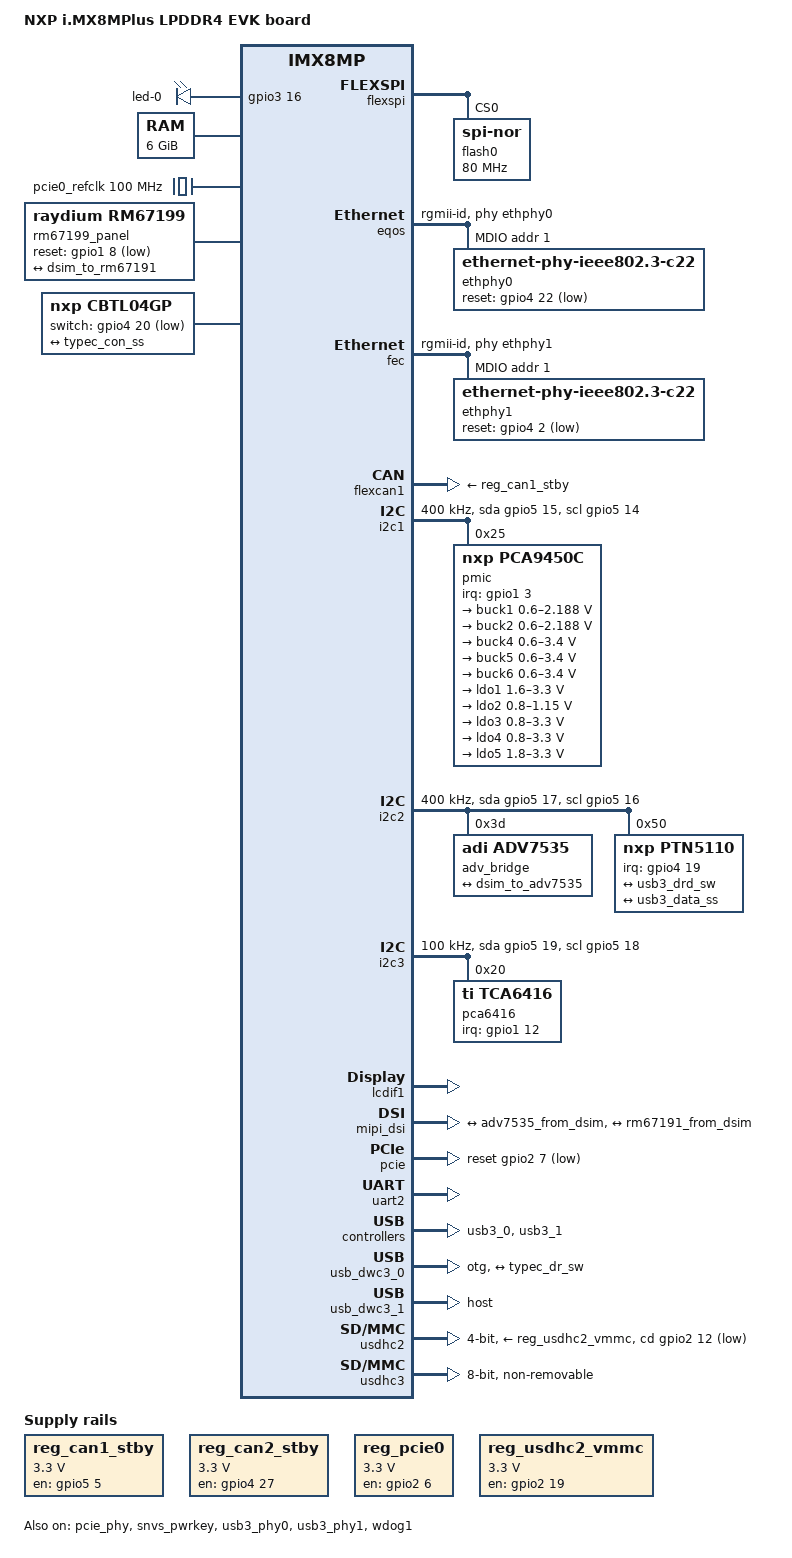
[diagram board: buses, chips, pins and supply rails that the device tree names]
// SPDX-License-Identifier: (GPL-2.0+ OR MIT)
/*
 * Copyright 2019 NXP
 */

/dts-v1/;

#include <dt-bindings/phy/phy-imx8-pcie.h>
#include <dt-bindings/usb/pd.h>
#include "imx8mp.dtsi"

/ {
	model = "NXP i.MX8MPlus LPDDR4 EVK board";
	compatible = "fsl,imx8mp-evk", "fsl,imx8mp";

	chosen {
		bootargs = "console=ttymxc1,115200 earlycon=ec_imx6q,0x30890000,115200";
		stdout-path = &uart2;
	};

	gpio-leds {
		compatible = "gpio-leds";
		pinctrl-names = "default";
		pinctrl-0 = <&pinctrl_gpio_led>;

		led-0 {
			gpios = <&gpio3 16 GPIO_ACTIVE_HIGH>;
			default-state = "on";
		};
	};

	memory@40000000 {
		device_type = "memory";
		reg = <0x0 0x40000000 0 0xc0000000>,
		      <0x1 0x00000000 0 0xc0000000>;
	};

	pcie0_refclk: pcie0-refclk {
		compatible = "fixed-clock";
			#clock-cells = <0>;
			clock-frequency = <100000000>;
	};

	reg_can1_stby: regulator-can1-stby {
		compatible = "regulator-fixed";
		regulator-name = "can1-stby";
		pinctrl-names = "default";
		pinctrl-0 = <&pinctrl_flexcan1_reg>;
		regulator-min-microvolt = <3300000>;
		regulator-max-microvolt = <3300000>;
		gpio = <&gpio5 5 GPIO_ACTIVE_HIGH>;
		enable-active-high;
	};

	reg_can2_stby: regulator-can2-stby {
		compatible = "regulator-fixed";
		regulator-name = "can2-stby";
		pinctrl-names = "default";
		pinctrl-0 = <&pinctrl_flexcan2_reg>;
		regulator-min-microvolt = <3300000>;
		regulator-max-microvolt = <3300000>;
		gpio = <&gpio4 27 GPIO_ACTIVE_HIGH>;
		enable-active-high;
	};

	reg_pcie0: regulator-pcie {
		compatible = "regulator-fixed";
		pinctrl-names = "default";
		pinctrl-0 = <&pinctrl_pcie0_reg>;
		regulator-name = "MPCIE_3V3";
		regulator-min-microvolt = <3300000>;
		regulator-max-microvolt = <3300000>;
		gpio = <&gpio2 6 GPIO_ACTIVE_HIGH>;
		enable-active-high;
		regulator-always-on;
	};

	reg_usdhc2_vmmc: regulator-usdhc2 {
		compatible = "regulator-fixed";
		pinctrl-names = "default";
		pinctrl-0 = <&pinctrl_reg_usdhc2_vmmc>;
		regulator-name = "VSD_3V3";
		regulator-min-microvolt = <3300000>;
		regulator-max-microvolt = <3300000>;
		gpio = <&gpio2 19 GPIO_ACTIVE_HIGH>;
		enable-active-high;
	};

	dsi_host: dsi-host {
		compatible = "samsung,sec-mipi-dsi";
		status = "okay";
	};

	rm67199_panel {
		compatible = "raydium,rm67199";
		pinctrl-names = "default";
		pinctrl-0 = <&pinctrl_mipi_dsi_en>;
		reset-gpio = <&gpio1 8 GPIO_ACTIVE_LOW>;
		dsi-lanes = <4>;
		video-mode = <2>;	/* 0: burst mode
					 * 1: non-burst mode with sync event
					 * 2: non-burst mode with sync pulse
					 */
		panel-width-mm = <68>;
		panel-height-mm = <121>;
		status = "okay";

		port {
			rm67191_from_dsim: endpoint {
				remote-endpoint = <&dsim_to_rm67191>;
			};
		};
	};

	cbtl04gp {
		compatible = "nxp,cbtl04gp";
		pinctrl-names = "default";
		pinctrl-0 = <&pinctrl_typec_mux>;
		switch-gpios = <&gpio4 20 GPIO_ACTIVE_LOW>;
		orientation-switch;

		port {
			usb3_data_ss: endpoint {
				remote-endpoint = <&typec_con_ss>;
			};
		};
	};
};

&flexspi {
	pinctrl-names = "default";
	pinctrl-0 = <&pinctrl_flexspi0>;
	status = "okay";

	flash0: flash@0 {
		reg = <0>;
		#address-cells = <1>;
		#size-cells = <1>;
		compatible = "jedec,spi-nor";
		spi-max-frequency = <80000000>;
		spi-tx-bus-width = <1>;
		spi-rx-bus-width = <4>;
	};
};

&A53_0 {
	cpu-supply = <&buck2>;
};

&A53_1 {
	cpu-supply = <&buck2>;
};

&A53_2 {
	cpu-supply = <&buck2>;
};

&A53_3 {
	cpu-supply = <&buck2>;
};

&eqos {
	pinctrl-names = "default";
	pinctrl-0 = <&pinctrl_eqos>;
	phy-mode = "rgmii-id";
	phy-handle = <&ethphy0>;
	snps,force_thresh_dma_mode;
	snps,mtl-tx-config = <&mtl_tx_setup>;
	snps,mtl-rx-config = <&mtl_rx_setup>;
	status = "okay";

	mdio {
		compatible = "snps,dwmac-mdio";
		#address-cells = <1>;
		#size-cells = <0>;

		ethphy0: ethernet-phy@1 {
			compatible = "ethernet-phy-ieee802.3-c22";
			reg = <1>;
			eee-broken-1000t;
			reset-gpios = <&gpio4 22 GPIO_ACTIVE_LOW>;
			reset-assert-us = <10000>;
			reset-deassert-us = <80000>;
			realtek,clkout-disable;
		};
	};

	mtl_tx_setup: tx-queues-config {
		snps,tx-queues-to-use = <5>;
		snps,tx-sched-sp;

		queue0 {
			snps,dcb-algorithm;
			snps,priority = <0x1>;
		};

		queue1 {
			snps,dcb-algorithm;
			snps,priority = <0x2>;
		};

		queue2 {
			snps,dcb-algorithm;
			snps,priority = <0x4>;
		};

		queue3 {
			snps,dcb-algorithm;
			snps,priority = <0x8>;
		};

		queue4 {
			snps,dcb-algorithm;
			snps,priority = <0xf0>;
		};
	};

	mtl_rx_setup: rx-queues-config {
		snps,rx-queues-to-use = <5>;
		snps,rx-sched-sp;

		queue0 {
			snps,dcb-algorithm;
			snps,priority = <0x1>;
			snps,map-to-dma-channel = <0>;
		};

		queue1 {
			snps,dcb-algorithm;
			snps,priority = <0x2>;
			snps,map-to-dma-channel = <1>;
		};

		queue2 {
			snps,dcb-algorithm;
			snps,priority = <0x4>;
			snps,map-to-dma-channel = <2>;
		};

		queue3 {
			snps,dcb-algorithm;
			snps,priority = <0x8>;
			snps,map-to-dma-channel = <3>;
		};

		queue4 {
			snps,dcb-algorithm;
			snps,priority = <0xf0>;
			snps,map-to-dma-channel = <4>;
		};
	};
};

&fec {
	pinctrl-names = "default";
	pinctrl-0 = <&pinctrl_fec>;
	phy-mode = "rgmii-id";
	phy-handle = <&ethphy1>;
	fsl,magic-packet;
	status = "okay";

	mdio {
		#address-cells = <1>;
		#size-cells = <0>;

		ethphy1: ethernet-phy@1 {
			compatible = "ethernet-phy-ieee802.3-c22";
			reg = <1>;
			eee-broken-1000t;
			reset-gpios = <&gpio4 2 GPIO_ACTIVE_LOW>;
			reset-assert-us = <10000>;
			reset-deassert-us = <80000>;
			realtek,aldps-enable;
			realtek,clkout-disable;
		};
	};
};

&flexcan1 {
	pinctrl-names = "default";
	pinctrl-0 = <&pinctrl_flexcan1>;
	xceiver-supply = <&reg_can1_stby>;
	status = "okay";
};

&flexcan2 {
	pinctrl-names = "default";
	pinctrl-0 = <&pinctrl_flexcan2>;
	xceiver-supply = <&reg_can2_stby>;
	pinctrl-assert-gpios = <&pca6416 3 GPIO_ACTIVE_HIGH>;
	status = "disabled";/* can2 pin conflict with pdm */
};

&i2c1 {
	clock-frequency = <400000>;
	pinctrl-names = "default", "gpio";
	pinctrl-0 = <&pinctrl_i2c1>;
	pinctrl-1 = <&pinctrl_i2c1_gpio>;
	scl-gpios = <&gpio5 14 GPIO_ACTIVE_HIGH>;
	sda-gpios = <&gpio5 15 GPIO_ACTIVE_HIGH>;
	status = "okay";

	pmic@25 {
		compatible = "nxp,pca9450c";
		reg = <0x25>;
		pinctrl-names = "default";
		pinctrl-0 = <&pinctrl_pmic>;
		interrupt-parent = <&gpio1>;
		interrupts = <3 IRQ_TYPE_LEVEL_LOW>;

		regulators {
			buck1: BUCK1 {
				regulator-name = "BUCK1";
				regulator-min-microvolt = <600000>;
				regulator-max-microvolt = <2187500>;
				regulator-boot-on;
				regulator-always-on;
				regulator-ramp-delay = <3125>;
			};

			buck2: BUCK2 {
				regulator-name = "BUCK2";
				regulator-min-microvolt = <600000>;
				regulator-max-microvolt = <2187500>;
				regulator-boot-on;
				regulator-always-on;
				regulator-ramp-delay = <3125>;
				nxp,dvs-run-voltage = <950000>;
				nxp,dvs-standby-voltage = <850000>;
			};

			buck4: BUCK4{
				regulator-name = "BUCK4";
				regulator-min-microvolt = <600000>;
				regulator-max-microvolt = <3400000>;
				regulator-boot-on;
				regulator-always-on;
			};

			buck5: BUCK5{
				regulator-name = "BUCK5";
				regulator-min-microvolt = <600000>;
				regulator-max-microvolt = <3400000>;
				regulator-boot-on;
				regulator-always-on;
			};

			buck6: BUCK6 {
				regulator-name = "BUCK6";
				regulator-min-microvolt = <600000>;
				regulator-max-microvolt = <3400000>;
				regulator-boot-on;
				regulator-always-on;
			};

			ldo1: LDO1 {
				regulator-name = "LDO1";
				regulator-min-microvolt = <1600000>;
				regulator-max-microvolt = <3300000>;
				regulator-boot-on;
				regulator-always-on;
			};

			ldo2: LDO2 {
				regulator-name = "LDO2";
				regulator-min-microvolt = <800000>;
				regulator-max-microvolt = <1150000>;
				regulator-boot-on;
				regulator-always-on;
			};

			ldo3: LDO3 {
				regulator-name = "LDO3";
				regulator-min-microvolt = <800000>;
				regulator-max-microvolt = <3300000>;
				regulator-boot-on;
				regulator-always-on;
			};

			ldo4: LDO4 {
				regulator-name = "LDO4";
				regulator-min-microvolt = <800000>;
				regulator-max-microvolt = <3300000>;
				regulator-boot-on;
				regulator-always-on;
			};

			ldo5: LDO5 {
				regulator-name = "LDO5";
				regulator-min-microvolt = <1800000>;
				regulator-max-microvolt = <3300000>;
				regulator-boot-on;
				regulator-always-on;
			};
		};
	};
};

&i2c2 {
	clock-frequency = <400000>;
	pinctrl-names = "default", "gpio";
	pinctrl-0 = <&pinctrl_i2c2>;
	pinctrl-1 = <&pinctrl_i2c2_gpio>;
	scl-gpios = <&gpio5 16 GPIO_ACTIVE_HIGH>;
	sda-gpios = <&gpio5 17 GPIO_ACTIVE_HIGH>;
	status = "okay";

	adv_bridge: adv7535@3d {
		compatible = "adi,adv7535";
		reg = <0x3d>;
		adi,addr-cec = <0x3c>;
		adi,dsi-lanes = <4>;
		status = "okay";

		port {
			adv7535_from_dsim: endpoint {
				remote-endpoint = <&dsim_to_adv7535>;
			};
		};
	};

	ptn5110: tcpc@50 {
		compatible = "nxp,ptn5110";
		pinctrl-names = "default";
		pinctrl-0 = <&pinctrl_typec>;
		reg = <0x50>;
		interrupt-parent = <&gpio4>;
		interrupts = <19 8>;

		port {
			typec_dr_sw: endpoint {
				remote-endpoint = <&usb3_drd_sw>;
			};
		};

		usb_con: connector {
			compatible = "usb-c-connector";
			label = "USB-C";
			power-role = "dual";
			data-role = "dual";
			try-power-role = "sink";
			source-pdos = <PDO_FIXED(5000, 3000, PDO_FIXED_USB_COMM)>;
			sink-pdos = <PDO_FIXED(5000, 3000, PDO_FIXED_USB_COMM)
				     PDO_VAR(5000, 20000, 3000)>;
			op-sink-microwatt = <15000000>;
			self-powered;

			ports {
				#address-cells = <1>;
				#size-cells = <0>;

				port@1 {
					reg = <1>;
					typec_con_ss: endpoint {
						remote-endpoint = <&usb3_data_ss>;
					};
				};
			};
		};
	};
};

&i2c3 {
	clock-frequency = <100000>;
	pinctrl-names = "default", "gpio";
	pinctrl-0 = <&pinctrl_i2c3>;
	pinctrl-1 = <&pinctrl_i2c3_gpio>;
	scl-gpios = <&gpio5 18 GPIO_ACTIVE_HIGH>;
	sda-gpios = <&gpio5 19 GPIO_ACTIVE_HIGH>;
	status = "okay";

	pca6416: gpio@20 {
		compatible = "ti,tca6416";
		reg = <0x20>;
		gpio-controller;
		#gpio-cells = <2>;
		interrupt-controller;
		#interrupt-cells = <2>;
		pinctrl-names = "default";
		pinctrl-0 = <&pinctrl_pca6416_int>;
		interrupt-parent = <&gpio1>;
		interrupts = <12 IRQ_TYPE_LEVEL_LOW>;
		gpio-line-names = "EXT_PWREN1",
			"EXT_PWREN2",
			"CAN1/I2C5_SEL",
			"PDM/CAN2_SEL",
			"FAN_EN",
			"PWR_MEAS_IO1",
			"PWR_MEAS_IO2",
			"EXP_P0_7",
			"EXP_P1_0",
			"EXP_P1_1",
			"EXP_P1_2",
			"EXP_P1_3",
			"EXP_P1_4",
			"EXP_P1_5",
			"EXP_P1_6",
			"EXP_P1_7";
	};
};

/* I2C on expansion connector J22. */
&i2c5 {
	clock-frequency = <100000>; /* Lower clock speed for external bus. */
	pinctrl-names = "default";
	pinctrl-0 = <&pinctrl_i2c5>;
	status = "disabled"; /* can1 pins conflict with i2c5 */

	/* GPIO 2 of PCA6416 is used to switch between CAN1 and I2C5 functions:
	 *     LOW:  CAN1 (default, pull-down)
	 *     HIGH: I2C5
	 * You need to set it to high to enable I2C5 (for example, add gpio-hog
	 * in pca6416 node).
	 */
};

&lcdif1 {
	status = "okay";
};

&mipi_dsi {
	status = "okay";

	port@1 {
		dsim_to_adv7535: endpoint {
			remote-endpoint = <&adv7535_from_dsim>;
		};
	};

	port@2 {
		dsim_to_rm67191: endpoint {
			remote-endpoint = <&rm67191_from_dsim>;
		};
	};
};

&pcie_phy {
	fsl,refclk-pad-mode = <IMX8_PCIE_REFCLK_PAD_INPUT>;
	clocks = <&pcie0_refclk>;
	clock-names = "ref";
	status = "okay";
};

&pcie {
	pinctrl-names = "default";
	pinctrl-0 = <&pinctrl_pcie0>;
	reset-gpio = <&gpio2 7 GPIO_ACTIVE_LOW>;
	clocks = <&clk IMX8MP_CLK_HSIO_ROOT>,
		 <&clk IMX8MP_CLK_PCIE_ROOT>,
		 <&clk IMX8MP_CLK_HSIO_AXI>;
	clock-names = "pcie", "pcie_aux", "pcie_bus";
	assigned-clocks = <&clk IMX8MP_CLK_PCIE_AUX>;
	assigned-clock-rates = <10000000>;
	assigned-clock-parents = <&clk IMX8MP_SYS_PLL2_50M>;
	vpcie-supply = <&reg_pcie0>;
	status = "okay";
};

&snvs_pwrkey {
	status = "okay";
};

&uart2 {
	/* console */
	pinctrl-names = "default";
	pinctrl-0 = <&pinctrl_uart2>;
	status = "okay";
};

&usb3_phy0 {
	fsl,phy-tx-vref-tune = <0xe>;
	fsl,phy-tx-preemp-amp-tune = <3>;
	fsl,phy-tx-vboost-level = <5>;
	fsl,phy-comp-dis-tune = <7>;
	fsl,pcs-tx-deemph-3p5db = <0x21>;
	fsl,phy-pcs-tx-swing-full = <0x7f>;
	status = "okay";
};

&usb3_0 {
	status = "okay";
};

&usb_dwc3_0 {
	dr_mode = "otg";
	hnp-disable;
	srp-disable;
	adp-disable;
	usb-role-switch;
	role-switch-default-mode = "none";
	snps,dis-u1-entry-quirk;
	snps,dis-u2-entry-quirk;
	status = "okay";

	port {
		usb3_drd_sw: endpoint {
			remote-endpoint = <&typec_dr_sw>;
		};
	};
};

&usb3_phy1 {
	fsl,phy-tx-preemp-amp-tune = <3>;
	fsl,phy-tx-vref-tune = <0xb>;
	status = "okay";
};

&usb3_1 {
	status = "okay";
};

&usb_dwc3_1 {
	pinctrl-names = "default";
	pinctrl-0 = <&pinctrl_usb1_vbus>;
	dr_mode = "host";
	status = "okay";
};

&usdhc2 {
	assigned-clocks = <&clk IMX8MP_CLK_USDHC2>;
	assigned-clock-rates = <400000000>;
	pinctrl-names = "default", "state_100mhz", "state_200mhz";
	pinctrl-0 = <&pinctrl_usdhc2>, <&pinctrl_usdhc2_gpio>;
	pinctrl-1 = <&pinctrl_usdhc2_100mhz>, <&pinctrl_usdhc2_gpio>;
	pinctrl-2 = <&pinctrl_usdhc2_200mhz>, <&pinctrl_usdhc2_gpio>;
	cd-gpios = <&gpio2 12 GPIO_ACTIVE_LOW>;
	vmmc-supply = <&reg_usdhc2_vmmc>;
	bus-width = <4>;
	status = "okay";
};

&usdhc3 {
	assigned-clocks = <&clk IMX8MP_CLK_USDHC3>;
	assigned-clock-rates = <400000000>;
	pinctrl-names = "default", "state_100mhz", "state_200mhz";
	pinctrl-0 = <&pinctrl_usdhc3>;
	pinctrl-1 = <&pinctrl_usdhc3_100mhz>;
	pinctrl-2 = <&pinctrl_usdhc3_200mhz>;
	bus-width = <8>;
	non-removable;
	status = "okay";
};

&wdog1 {
	pinctrl-names = "default";
	pinctrl-0 = <&pinctrl_wdog>;
	fsl,ext-reset-output;
	status = "okay";
};

&iomuxc {
	pinctrl_eqos: eqosgrp {
		fsl,pins = <
			MX8MP_IOMUXC_ENET_MDC__ENET_QOS_MDC				0x2
			MX8MP_IOMUXC_ENET_MDIO__ENET_QOS_MDIO				0x2
			MX8MP_IOMUXC_ENET_RD0__ENET_QOS_RGMII_RD0			0x90
			MX8MP_IOMUXC_ENET_RD1__ENET_QOS_RGMII_RD1			0x90
			MX8MP_IOMUXC_ENET_RD2__ENET_QOS_RGMII_RD2			0x90
			MX8MP_IOMUXC_ENET_RD3__ENET_QOS_RGMII_RD3			0x90
			MX8MP_IOMUXC_ENET_RXC__CCM_ENET_QOS_CLOCK_GENERATE_RX_CLK	0x90
			MX8MP_IOMUXC_ENET_RX_CTL__ENET_QOS_RGMII_RX_CTL			0x90
			MX8MP_IOMUXC_ENET_TD0__ENET_QOS_RGMII_TD0			0x16
			MX8MP_IOMUXC_ENET_TD1__ENET_QOS_RGMII_TD1			0x16
			MX8MP_IOMUXC_ENET_TD2__ENET_QOS_RGMII_TD2			0x16
			MX8MP_IOMUXC_ENET_TD3__ENET_QOS_RGMII_TD3			0x16
			MX8MP_IOMUXC_ENET_TX_CTL__ENET_QOS_RGMII_TX_CTL			0x16
			MX8MP_IOMUXC_ENET_TXC__CCM_ENET_QOS_CLOCK_GENERATE_TX_CLK	0x16
			MX8MP_IOMUXC_SAI2_RXC__GPIO4_IO22				0x10
		>;
	};

	pinctrl_fec: fecgrp {
		fsl,pins = <
			MX8MP_IOMUXC_SAI1_RXD2__ENET1_MDC		0x2
			MX8MP_IOMUXC_SAI1_RXD3__ENET1_MDIO		0x2
			MX8MP_IOMUXC_SAI1_RXD4__ENET1_RGMII_RD0		0x90
			MX8MP_IOMUXC_SAI1_RXD5__ENET1_RGMII_RD1		0x90
			MX8MP_IOMUXC_SAI1_RXD6__ENET1_RGMII_RD2		0x90
			MX8MP_IOMUXC_SAI1_RXD7__ENET1_RGMII_RD3		0x90
			MX8MP_IOMUXC_SAI1_TXC__ENET1_RGMII_RXC		0x90
			MX8MP_IOMUXC_SAI1_TXFS__ENET1_RGMII_RX_CTL	0x90
			MX8MP_IOMUXC_SAI1_TXD0__ENET1_RGMII_TD0		0x16
			MX8MP_IOMUXC_SAI1_TXD1__ENET1_RGMII_TD1		0x16
			MX8MP_IOMUXC_SAI1_TXD2__ENET1_RGMII_TD2		0x16
			MX8MP_IOMUXC_SAI1_TXD3__ENET1_RGMII_TD3		0x16
			MX8MP_IOMUXC_SAI1_TXD4__ENET1_RGMII_TX_CTL	0x16
			MX8MP_IOMUXC_SAI1_TXD5__ENET1_RGMII_TXC		0x16
			MX8MP_IOMUXC_SAI1_RXD0__GPIO4_IO02		0x10
		>;
	};

	pinctrl_flexcan1: flexcan1grp {
		fsl,pins = <
			MX8MP_IOMUXC_SPDIF_RX__CAN1_RX          0x154
			MX8MP_IOMUXC_SPDIF_TX__CAN1_TX          0x154
		>;
	};

	pinctrl_flexcan2: flexcan2grp {
		fsl,pins = <
			MX8MP_IOMUXC_SAI5_MCLK__CAN2_RX         0x154
			MX8MP_IOMUXC_SAI5_RXD3__CAN2_TX         0x154
		>;
	};

	pinctrl_flexcan1_reg: flexcan1reggrp {
		fsl,pins = <
			MX8MP_IOMUXC_SPDIF_EXT_CLK__GPIO5_IO05  0x154   /* CAN1_STBY */
		>;
	};

	pinctrl_flexcan2_reg: flexcan2reggrp {
		fsl,pins = <
			MX8MP_IOMUXC_SAI2_MCLK__GPIO4_IO27      0x154   /* CAN2_STBY */
		>;
	};

	pinctrl_flexspi0: flexspi0grp {
		fsl,pins = <
			MX8MP_IOMUXC_NAND_ALE__FLEXSPI_A_SCLK           0x1c2
			MX8MP_IOMUXC_NAND_CE0_B__FLEXSPI_A_SS0_B        0x82
			MX8MP_IOMUXC_NAND_DATA00__FLEXSPI_A_DATA00      0x82
			MX8MP_IOMUXC_NAND_DATA01__FLEXSPI_A_DATA01      0x82
			MX8MP_IOMUXC_NAND_DATA02__FLEXSPI_A_DATA02      0x82
			MX8MP_IOMUXC_NAND_DATA03__FLEXSPI_A_DATA03      0x82
		>;
	};

	pinctrl_gpio_led: gpioledgrp {
		fsl,pins = <
			MX8MP_IOMUXC_NAND_READY_B__GPIO3_IO16	0x140
		>;
	};

	pinctrl_i2c1: i2c1grp {
		fsl,pins = <
			MX8MP_IOMUXC_I2C1_SCL__I2C1_SCL		0x400001c2
			MX8MP_IOMUXC_I2C1_SDA__I2C1_SDA		0x400001c2
		>;
	};

	pinctrl_i2c2: i2c2grp {
		fsl,pins = <
			MX8MP_IOMUXC_I2C2_SCL__I2C2_SCL		0x400001c2
			MX8MP_IOMUXC_I2C2_SDA__I2C2_SDA		0x400001c2
		>;
	};

	pinctrl_i2c3: i2c3grp {
		fsl,pins = <
			MX8MP_IOMUXC_I2C3_SCL__I2C3_SCL		0x400001c2
			MX8MP_IOMUXC_I2C3_SDA__I2C3_SDA		0x400001c2
		>;
	};

	pinctrl_i2c5: i2c5grp {
		fsl,pins = <
			MX8MP_IOMUXC_SPDIF_RX__I2C5_SDA         0x400001c2
			MX8MP_IOMUXC_SPDIF_TX__I2C5_SCL         0x400001c2
		>;
	};

	pinctrl_mipi_dsi_en: mipidsiengrp {
		fsl,pins = <
			MX8MP_IOMUXC_GPIO1_IO08__GPIO1_IO08	0x16
		>;
	};

	pinctrl_pcie0: pcie0grp {
		fsl,pins = <
			MX8MP_IOMUXC_I2C4_SCL__PCIE_CLKREQ_B	0x60 /* open drain, pull up */
			MX8MP_IOMUXC_SD1_DATA5__GPIO2_IO07	0x40
			MX8MP_IOMUXC_I2C4_SDA__GPIO5_IO21	0x1c4
		>;
	};

	pinctrl_pcie0_reg: pcie0reggrp {
		fsl,pins = <
			MX8MP_IOMUXC_SD1_DATA4__GPIO2_IO06	0x40
		>;
	};

	pinctrl_pmic: pmicirqgrp {
		fsl,pins = <
			MX8MP_IOMUXC_GPIO1_IO03__GPIO1_IO03	0x000001c0
		>;
	};

	pinctrl_pca6416_int: pca6416_int_grp {
		fsl,pins = <
			MX8MP_IOMUXC_GPIO1_IO12__GPIO1_IO12	0x146 /* Input pull-up. */
		>;
	};

	pinctrl_reg_usdhc2_vmmc: regusdhc2vmmcgrp {
		fsl,pins = <
			MX8MP_IOMUXC_SD2_RESET_B__GPIO2_IO19	0x40
		>;
	};

	pinctrl_i2c1_gpio: i2c1gpiogrp {
		fsl,pins = <
			MX8MP_IOMUXC_I2C1_SCL__GPIO5_IO14        	0x1c3
			MX8MP_IOMUXC_I2C1_SDA__GPIO5_IO15        	0x1c3
		>;
	};

	pinctrl_i2c2_gpio: i2c2gpiogrp {
		fsl,pins = <
			MX8MP_IOMUXC_I2C2_SCL__GPIO5_IO16        	0x1c3
			MX8MP_IOMUXC_I2C2_SDA__GPIO5_IO17        	0x1c3
		>;
	};

	pinctrl_i2c3_gpio: i2c3gpiogrp {
		fsl,pins = <
			MX8MP_IOMUXC_I2C3_SCL__GPIO5_IO18        	0x1c3
			MX8MP_IOMUXC_I2C3_SDA__GPIO5_IO19        	0x1c3
		>;
	};

	pinctrl_typec: typec1grp {
		fsl,pins = <
			MX8MP_IOMUXC_SAI1_TXD7__GPIO4_IO19	0x1c4
		>;
	};

	pinctrl_typec_mux: typec1muxgrp {
		fsl,pins = <
			MX8MP_IOMUXC_SAI1_MCLK__GPIO4_IO20	0x16
		>;
	};

	pinctrl_uart2: uart2grp {
		fsl,pins = <
			MX8MP_IOMUXC_UART2_RXD__UART2_DCE_RX	0x140
			MX8MP_IOMUXC_UART2_TXD__UART2_DCE_TX	0x140
		>;
	};

	pinctrl_usb1_vbus: usb1grp {
		fsl,pins = <
			MX8MP_IOMUXC_GPIO1_IO14__USB2_PWR		0x10
		>;
	};

	pinctrl_usdhc2: usdhc2grp {
		fsl,pins = <
			MX8MP_IOMUXC_SD2_CLK__USDHC2_CLK	0x190
			MX8MP_IOMUXC_SD2_CMD__USDHC2_CMD	0x1d0
			MX8MP_IOMUXC_SD2_DATA0__USDHC2_DATA0	0x1d0
			MX8MP_IOMUXC_SD2_DATA1__USDHC2_DATA1	0x1d0
			MX8MP_IOMUXC_SD2_DATA2__USDHC2_DATA2	0x1d0
			MX8MP_IOMUXC_SD2_DATA3__USDHC2_DATA3	0x1d0
			MX8MP_IOMUXC_GPIO1_IO04__USDHC2_VSELECT	0xc0
		>;
	};

	pinctrl_usdhc2_100mhz: usdhc2-100mhzgrp {
		fsl,pins = <
			MX8MP_IOMUXC_SD2_CLK__USDHC2_CLK	0x194
			MX8MP_IOMUXC_SD2_CMD__USDHC2_CMD	0x1d4
			MX8MP_IOMUXC_SD2_DATA0__USDHC2_DATA0	0x1d4
			MX8MP_IOMUXC_SD2_DATA1__USDHC2_DATA1	0x1d4
			MX8MP_IOMUXC_SD2_DATA2__USDHC2_DATA2	0x1d4
			MX8MP_IOMUXC_SD2_DATA3__USDHC2_DATA3	0x1d4
			MX8MP_IOMUXC_GPIO1_IO04__USDHC2_VSELECT 0xc0
		>;
	};

	pinctrl_usdhc2_200mhz: usdhc2-200mhzgrp {
		fsl,pins = <
			MX8MP_IOMUXC_SD2_CLK__USDHC2_CLK	0x196
			MX8MP_IOMUXC_SD2_CMD__USDHC2_CMD	0x1d6
			MX8MP_IOMUXC_SD2_DATA0__USDHC2_DATA0	0x1d6
			MX8MP_IOMUXC_SD2_DATA1__USDHC2_DATA1	0x1d6
			MX8MP_IOMUXC_SD2_DATA2__USDHC2_DATA2	0x1d6
			MX8MP_IOMUXC_SD2_DATA3__USDHC2_DATA3	0x1d6
			MX8MP_IOMUXC_GPIO1_IO04__USDHC2_VSELECT 0xc0
		>;
	};

	pinctrl_usdhc2_gpio: usdhc2gpiogrp {
		fsl,pins = <
			MX8MP_IOMUXC_SD2_CD_B__GPIO2_IO12	0x1c4
		>;
	};

	pinctrl_usdhc3: usdhc3grp {
		fsl,pins = <
			MX8MP_IOMUXC_NAND_WE_B__USDHC3_CLK	0x190
			MX8MP_IOMUXC_NAND_WP_B__USDHC3_CMD	0x1d0
			MX8MP_IOMUXC_NAND_DATA04__USDHC3_DATA0	0x1d0
			MX8MP_IOMUXC_NAND_DATA05__USDHC3_DATA1	0x1d0
			MX8MP_IOMUXC_NAND_DATA06__USDHC3_DATA2	0x1d0
			MX8MP_IOMUXC_NAND_DATA07__USDHC3_DATA3	0x1d0
			MX8MP_IOMUXC_NAND_RE_B__USDHC3_DATA4	0x1d0
			MX8MP_IOMUXC_NAND_CE2_B__USDHC3_DATA5	0x1d0
			MX8MP_IOMUXC_NAND_CE3_B__USDHC3_DATA6	0x1d0
			MX8MP_IOMUXC_NAND_CLE__USDHC3_DATA7	0x1d0
			MX8MP_IOMUXC_NAND_CE1_B__USDHC3_STROBE	0x190
		>;
	};

	pinctrl_usdhc3_100mhz: usdhc3-100mhzgrp {
		fsl,pins = <
			MX8MP_IOMUXC_NAND_WE_B__USDHC3_CLK	0x194
			MX8MP_IOMUXC_NAND_WP_B__USDHC3_CMD	0x1d4
			MX8MP_IOMUXC_NAND_DATA04__USDHC3_DATA0	0x1d4
			MX8MP_IOMUXC_NAND_DATA05__USDHC3_DATA1	0x1d4
			MX8MP_IOMUXC_NAND_DATA06__USDHC3_DATA2	0x1d4
			MX8MP_IOMUXC_NAND_DATA07__USDHC3_DATA3	0x1d4
			MX8MP_IOMUXC_NAND_RE_B__USDHC3_DATA4	0x1d4
			MX8MP_IOMUXC_NAND_CE2_B__USDHC3_DATA5	0x1d4
			MX8MP_IOMUXC_NAND_CE3_B__USDHC3_DATA6	0x1d4
			MX8MP_IOMUXC_NAND_CLE__USDHC3_DATA7	0x1d4
			MX8MP_IOMUXC_NAND_CE1_B__USDHC3_STROBE	0x194
		>;
	};

	pinctrl_usdhc3_200mhz: usdhc3-200mhzgrp {
		fsl,pins = <
			MX8MP_IOMUXC_NAND_WE_B__USDHC3_CLK	0x196
			MX8MP_IOMUXC_NAND_WP_B__USDHC3_CMD	0x1d6
			MX8MP_IOMUXC_NAND_DATA04__USDHC3_DATA0	0x1d6
			MX8MP_IOMUXC_NAND_DATA05__USDHC3_DATA1	0x1d6
			MX8MP_IOMUXC_NAND_DATA06__USDHC3_DATA2	0x1d6
			MX8MP_IOMUXC_NAND_DATA07__USDHC3_DATA3	0x1d6
			MX8MP_IOMUXC_NAND_RE_B__USDHC3_DATA4	0x1d6
			MX8MP_IOMUXC_NAND_CE2_B__USDHC3_DATA5	0x1d6
			MX8MP_IOMUXC_NAND_CE3_B__USDHC3_DATA6	0x1d6
			MX8MP_IOMUXC_NAND_CLE__USDHC3_DATA7	0x1d6
			MX8MP_IOMUXC_NAND_CE1_B__USDHC3_STROBE	0x196
		>;
	};

	pinctrl_wdog: wdoggrp {
		fsl,pins = <
			MX8MP_IOMUXC_GPIO1_IO02__WDOG1_WDOG_B	0x166
		>;
	};
};
